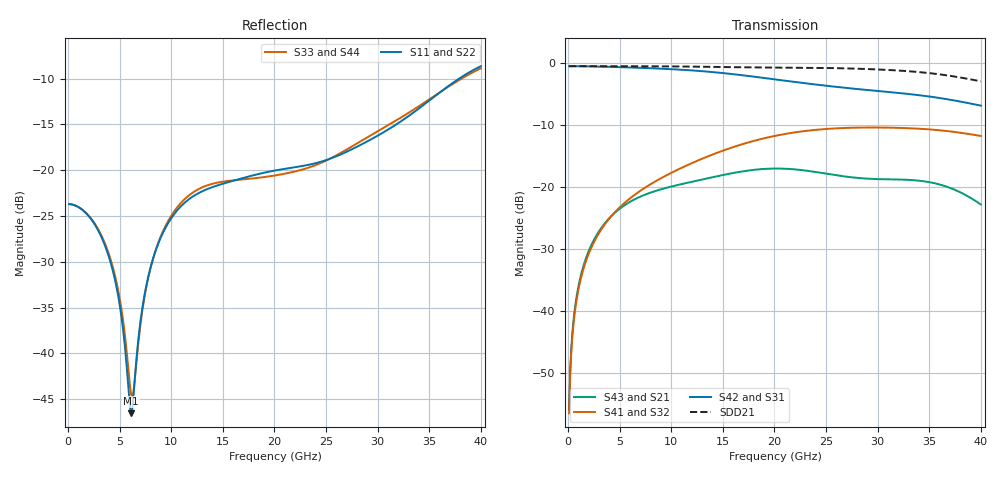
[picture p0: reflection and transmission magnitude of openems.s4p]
! E_s8_L1L8_p1200_round_g2: pair L1→L8, pitch 1.2 mm, two round antipads, 2 GND vias
! stackup: 8-layer 1.6 mm FR-4 (generic)
! ports: 1 P near, 2 N near, 3 P far, 4 N far
! openEMS 0.37.0, staircase, fine mesh (dfine 0.0175 mm), 1717716 cells
# Hz S RI R 50
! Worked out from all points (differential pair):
!   400 points, 100 MHz to 40 GHz, reference 50 ohm
!   strongest paths, dB at 100 MHz, 10.1 GHz, 20.1 GHz, 30.1 GHz, 40 GHz:
!     S42: -0.6, -1.1, -2.7, -4.6, -6.9
!     S31: -0.6, -1.1, -2.7, -4.6, -6.9
!     S41: -56.4, -17.7, -11.8, -10.5, -11.8
!     S32: -56.4, -17.7, -11.8, -10.5, -11.8
!     S43: -55.8, -19.9, -17.1, -18.8, -22.8
!     S21: -55.8, -19.9, -17.1, -18.8, -22.9
!   taken as a pair (ports 2,1 in; 4,3 out), SDD21 dB: -0.6, -0.6, -0.8, -1.1, -3.0
!   lowest |S11| = -46.5 dB at 6.1 GHz (marker M1), VSWR 1.01, Z = 49.6 + j0.307 ohm
!   |S11| at or under -10 dB: start of sweep to 37.9 GHz
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1e8  -0.0653 0.0023  0.000247 0.0016  0.9336 -0.0364  -0.000126 -0.00151
     0.000247 0.0016  -0.0653 0.0023  -0.000126 -0.00151  0.9336 -0.0364
     0.9336 -0.0364  -0.000126 -0.00151  -0.0652 0.00232  0.000247 0.0016
     -0.000126 -0.00151  0.9336 -0.0364  0.000247 0.0016  -0.0652 0.00232
6.1e9  -0.00355 0.00309  0.0405 -0.065  -0.6486 -0.6407  -0.0433 0.0697
       0.0405 -0.065  -0.00355 0.00309  -0.0433 0.0697  -0.6486 -0.6407
       -0.6485 -0.6407  -0.0433 0.0697  -0.0034 0.00495  0.0408 -0.0649
       -0.0433 0.0697  -0.6485 -0.6407  0.0408 -0.0649  -0.0034 0.00495
1.2e10  -0.00838 0.0708  -0.1047 0.0334  -0.0571 0.8616  0.1495 -0.0418
        -0.1047 0.0334  -0.00838 0.0708  0.1495 -0.0418  -0.0571 0.8616
        -0.0572 0.8617  0.1496 -0.0418  -0.00862 0.0744  -0.1049 0.0326
        0.1496 -0.0418  -0.0572 0.8617  -0.1049 0.0326  -0.00862 0.0744
1.98e10  0.00188 -0.0989  0.1336 -0.0422  0.1499 -0.7215  -0.2313 0.1067
         0.1336 -0.0422  0.00188 -0.0989  -0.2313 0.1067  0.1499 -0.7215
         0.1497 -0.7207  -0.2311 0.1066  0.00364 -0.093  0.1343 -0.0407
         -0.2311 0.1066  0.1497 -0.7207  0.1343 -0.0407  0.00364 -0.093
2.83e10  -0.0834 0.1086  -0.0945 0.0698  -0.0953 0.6012  0.1662 -0.2495
         -0.0945 0.0698  -0.0834 0.1086  0.1662 -0.2495  -0.0953 0.6012
         -0.0957 0.6011  0.1664 -0.2493  -0.0842 0.1158  -0.0957 0.0682
         0.1664 -0.2493  -0.0957 0.6011  -0.0957 0.0682  -0.0842 0.1158
3.31e10  0.146 0.1355  0.104 0.0459  0.5543 -0.0534  -0.2948 -0.0268
         0.104 0.0459  0.146 0.1355  -0.2948 -0.0268  0.5543 -0.0534
         0.5543 -0.0542  -0.2948 -0.0264  0.1444 0.1487  0.103 0.0481
         -0.2948 -0.0264  0.5543 -0.0542  0.103 0.0481  0.1444 0.1487
4e10  -0.00576 -0.3692  -0.0635 -0.0332  -0.4228 -0.1617  0.2503 0.0637
      -0.0635 -0.0332  -0.00576 -0.3692  0.2503 0.0637  -0.4228 -0.1617
      -0.4201 -0.1608  0.2487 0.0634  0.00512 -0.3596  -0.0631 -0.035
      0.2487 0.0634  -0.4201 -0.1608  -0.0631 -0.035  0.00512 -0.3596
